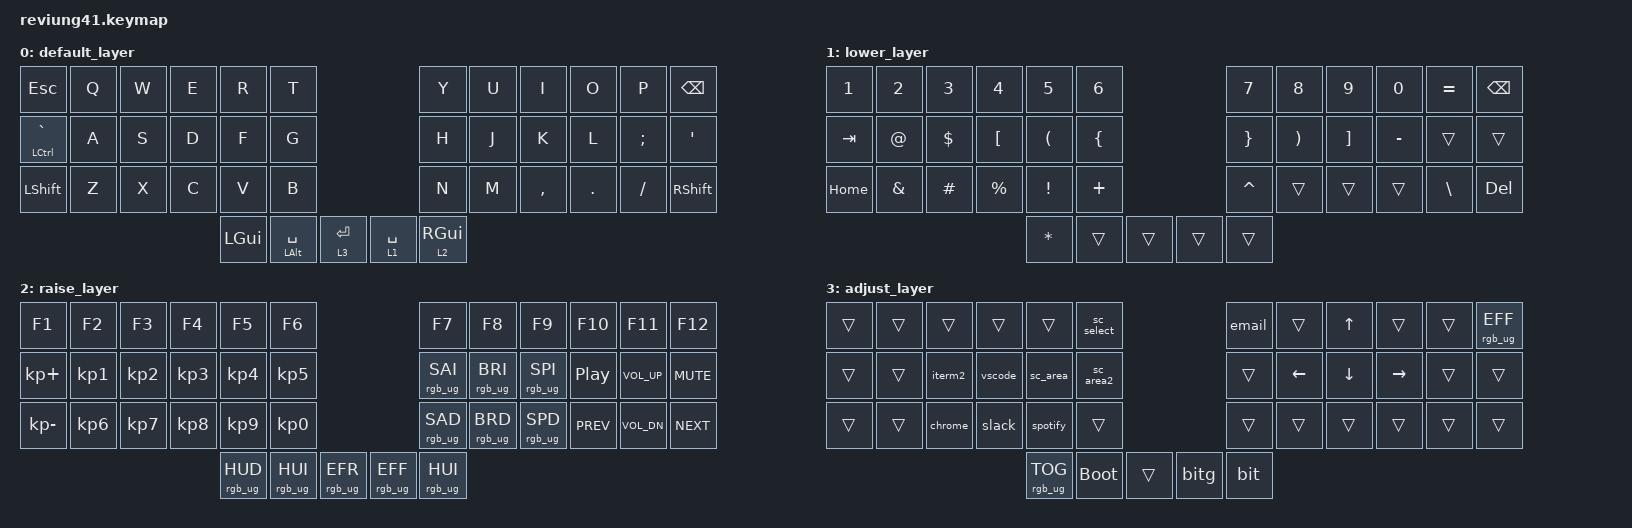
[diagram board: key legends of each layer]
/*
 * Reviung41 ChiefMikey Keymap - ZMK Configuration
 *
 * A comprehensive keymap for the Reviung41 split keyboard featuring:
 * - 4-layer layout (Base, Lower, Raise, Adjust)
 * - App launching shortcuts (iTerm2, VS Code, Chrome, Slack, Spotify)
 * - Screenshot shortcuts (selection and area capture)
 * - Email macro for quick insertion
 * - RGB lighting controls with animations
 * - Bluetooth support for wireless operation
 * - Optimized for macOS productivity workflows
 *
 * Hardware: Reviung41 with nice!nano v2 (RP2040)
 * Firmware: ZMK
 *
 * Copyright (c) 2020 The ZMK Contributors
 * SPDX-License-Identifier: MIT
 */

#include <behaviors.dtsi>
#include <dt-bindings/zmk/keys.h>
#include <dt-bindings/zmk/bt.h>
#include <dt-bindings/zmk/rgb.h>
#include <dt-bindings/zmk/outputs.h>
#include <dt-bindings/zmk/backlight.h>

&led_strip {
    chain-length = <11>;
};

/ {
    macros {
        // Email macro - sends wolfemikl@gmail.com
        email: email {
            label = "email";
            compatible = "zmk,behavior-macro";
            wait-ms = <5>;
            tap-ms = <5>;
            #binding-cells = <0>;
            bindings
                = <&macro_tap &kp W &kp O &kp L &kp F &kp E>
                , <&macro_tap &kp M &kp I &kp K &kp L>
                , <&macro_tap &kp AT>
                , <&macro_tap &kp G &kp M &kp A &kp I &kp L>
                , <&macro_tap &kp DOT>
                , <&macro_tap &kp C &kp O &kp M>
                ;
        };

        // Screenshot selection macro - macOS Cmd+Shift+4
        sc_select: sc_select {
            label = "sc_select";
            compatible = "zmk,behavior-macro";
            wait-ms = <5>;
            tap-ms = <5>;
            #binding-cells = <0>;
            bindings
                = <&macro_press &kp LGUI &kp LSHFT>
                , <&macro_tap &kp N4>
                , <&macro_release &kp LGUI &kp LSHFT>
                ;
        };

        // Screenshot area macro - macOS Cmd+Shift+5
        sc_area: sc_area {
            label = "sc_area";
            compatible = "zmk,behavior-macro";
            wait-ms = <5>;
            tap-ms = <5>;
            #binding-cells = <0>;
            bindings
                = <&macro_press &kp LGUI &kp LSHFT>
                , <&macro_tap &kp N5>
                , <&macro_release &kp LGUI &kp LSHFT>
                ;
        };

        // Screenshot area with enter macro - macOS Cmd+Shift+5+Enter
        sc_area2: sc_area2 {
            label = "sc_area2";
            compatible = "zmk,behavior-macro";
            wait-ms = <5>;
            tap-ms = <5>;
            #binding-cells = <0>;
            bindings
                = <&macro_press &kp LGUI &kp LSHFT>
                , <&macro_tap &kp N5>
                , <&macro_release &kp LGUI &kp LSHFT>
                , <&macro_tap &kp RET>
                ;
        };

        // App launching macros - require Cmd+Option+key shortcuts in macOS System Preferences
        // Launch iTerm2 - Cmd+Option+I
        iterm2: iterm2 {
            label = "iterm2";
            compatible = "zmk,behavior-macro";
            wait-ms = <5>;
            tap-ms = <5>;
            #binding-cells = <0>;
            bindings
                = <&macro_press &kp LGUI &kp LALT>
                , <&macro_tap &kp I>
                , <&macro_release &kp LGUI &kp LALT>
                ;
        };

        // Launch VS Code - Cmd+Option+V
        vscode: vscode {
            label = "vscode";
            compatible = "zmk,behavior-macro";
            wait-ms = <5>;
            tap-ms = <5>;
            #binding-cells = <0>;
            bindings
                = <&macro_press &kp LGUI &kp LALT>
                , <&macro_tap &kp V>
                , <&macro_release &kp LGUI &kp LALT>
                ;
        };

        // Launch Chrome - Cmd+Option+C
        chrome: chrome {
            label = "chrome";
            compatible = "zmk,behavior-macro";
            wait-ms = <5>;
            tap-ms = <5>;
            #binding-cells = <0>;
            bindings
                = <&macro_press &kp LGUI &kp LALT>
                , <&macro_tap &kp C>
                , <&macro_release &kp LGUI &kp LALT>
                ;
        };

        // Launch Slack - Cmd+Option+L
        slack: slack {
            label = "slack";
            compatible = "zmk,behavior-macro";
            wait-ms = <5>;
            tap-ms = <5>;
            #binding-cells = <0>;
            bindings
                = <&macro_press &kp LGUI &kp LALT>
                , <&macro_tap &kp L>
                , <&macro_release &kp LGUI &kp LALT>
                ;
        };

        // Launch Spotify - Cmd+Option+S
        spotify: spotify {
            label = "spotify";
            compatible = "zmk,behavior-macro";
            wait-ms = <5>;
            tap-ms = <5>;
            #binding-cells = <0>;
            bindings
                = <&macro_press &kp LGUI &kp LALT>
                , <&macro_tap &kp S>
                , <&macro_release &kp LGUI &kp LALT>
                ;
        };

        // Bit string macro - sends 644215-341561-007271-388454-339020-202070-542564-646173
        bit: bit {
            label = "bit";
            compatible = "zmk,behavior-macro";
            wait-ms = <5>;
            tap-ms = <5>;
            #binding-cells = <0>;
            bindings
                = <&macro_tap &kp N6 &kp N4 &kp N4 &kp N2 &kp N1 &kp N5>
                , <&macro_tap &kp MINUS>
                , <&macro_tap &kp N3 &kp N4 &kp N1 &kp N5 &kp N6 &kp N1>
                , <&macro_tap &kp MINUS>
                , <&macro_tap &kp N0 &kp N0 &kp N7 &kp N2 &kp N7 &kp N1>
                , <&macro_tap &kp MINUS>
                , <&macro_tap &kp N3 &kp N8 &kp N8 &kp N4 &kp N5 &kp N4>
                , <&macro_tap &kp MINUS>
                , <&macro_tap &kp N3 &kp N3 &kp N9 &kp N0 &kp N2 &kp N0>
                , <&macro_tap &kp MINUS>
                , <&macro_tap &kp N2 &kp N0 &kp N2 &kp N0 &kp N7 &kp N0>
                , <&macro_tap &kp MINUS>
                , <&macro_tap &kp N5 &kp N4 &kp N2 &kp N5 &kp N6 &kp N4>
                , <&macro_tap &kp MINUS>
                , <&macro_tap &kp N6 &kp N4 &kp N6 &kp N1 &kp N7 &kp N3>
                ;
        };

        // BitG string macro - sends 579359-282722-097900-233354-372933-318197-148071-714978
        bitg: bitg {
            label = "bitg";
            compatible = "zmk,behavior-macro";
            wait-ms = <5>;
            tap-ms = <5>;
            #binding-cells = <0>;
            bindings
                = <&macro_tap &kp N5 &kp N7 &kp N9 &kp N3 &kp N5 &kp N9>
                , <&macro_tap &kp MINUS>
                , <&macro_tap &kp N2 &kp N8 &kp N2 &kp N7 &kp N2 &kp N2>
                , <&macro_tap &kp MINUS>
                , <&macro_tap &kp N0 &kp N9 &kp N7 &kp N9 &kp N0 &kp N0>
                , <&macro_tap &kp MINUS>
                , <&macro_tap &kp N2 &kp N3 &kp N3 &kp N3 &kp N5 &kp N4>
                , <&macro_tap &kp MINUS>
                , <&macro_tap &kp N3 &kp N7 &kp N2 &kp N9 &kp N3 &kp N3>
                , <&macro_tap &kp MINUS>
                , <&macro_tap &kp N3 &kp N1 &kp N8 &kp N1 &kp N9 &kp N7>
                , <&macro_tap &kp MINUS>
                , <&macro_tap &kp N1 &kp N4 &kp N8 &kp N0 &kp N7 &kp N1>
                , <&macro_tap &kp MINUS>
                , <&macro_tap &kp N7 &kp N1 &kp N4 &kp N9 &kp N7 &kp N8>
                ;
        };
    };
};

/ {
    keymap {
        compatible = "zmk,keymap";

        default_layer {
            bindings = <
// |----------+----------+----------+----------+----------+----------|                        |----------+----------+----------+----------+----------+----------|
     &kp ESC         &kp Q    &kp W    &kp E    &kp R    &kp T                                &kp Y    &kp U    &kp I    &kp O    &kp P    &kp BSPC
// |----------+----------+----------+----------+----------+----------|                        |----------+----------+----------+----------+----------+----------|
     &mt LCTRL GRAVE &kp A    &kp S    &kp D    &kp F    &kp G                                &kp H    &kp J    &kp K    &kp L    &kp SEMI &kp SQT
// |----------+----------+----------+----------+----------+----------|                        |----------+----------+----------+----------+----------+----------|
     &kp LSHFT       &kp Z    &kp X    &kp C    &kp V    &kp B                                &kp N    &kp M    &kp COMMA &kp DOT &kp FSLH &kp RSHFT
// |----------+----------+----------+----------+----------+----------+----------|  |----------+----------+----------+----------+----------+----------+----------|
                                                &kp LGUI  &mt LALT SPACE &lt 3 RET  &lt 1 SPACE &lt 2 RGUI
//                                             |----------+----------+----------|  |----------+----------+----------|
            >;
        };

        lower_layer {
            bindings = <
// |----------+----------+----------+----------+----------+----------|                        |----------+----------+----------+----------+----------+----------|
     &kp N1    &kp N2    &kp N3    &kp N4    &kp N5    &kp N6                                &kp N7    &kp N8    &kp N9    &kp N0    &kp EQUAL &kp BSPC
// |----------+----------+----------+----------+----------+----------|                        |----------+----------+----------+----------+----------+----------|
     &kp TAB   &kp AT    &kp DLLR  &kp LBKT  &kp LPAR  &kp LBRC                              &kp RBRC  &kp RPAR  &kp RBKT  &kp MINUS &trans    &trans
// |----------+----------+----------+----------+----------+----------|                        |----------+----------+----------+----------+----------+----------|
     &kp HOME  &kp AMPS  &kp HASH  &kp PRCNT &kp EXCL  &kp PLUS                              &kp CARET &trans    &trans    &trans    &kp BSLH  &kp DEL
// |----------+----------+----------+----------+----------+----------+----------|  |----------+----------+----------+----------+----------+----------+----------|
                                                &kp ASTRK &trans    &trans        &trans     &trans
//                                             |----------+----------+----------|  |----------+----------+----------|
            >;
        };

        raise_layer {
            bindings = <
// |----------+----------+----------+----------+----------+----------|                        |----------+----------+----------+----------+----------+----------|
     &kp F1   &kp F2    &kp F3    &kp F4    &kp F5    &kp F6                                &kp F7    &kp F8   &kp F9   &kp F10    &kp F11     &kp F12
// |----------+----------+----------+----------+----------+----------|                        |----------+----------+----------+----------+----------+----------|
     &kp KP_PLUS &kp KP_N1    &kp KP_N2    &kp KP_N3    &kp KP_N4    &kp KP_N5                                &rgb_ug RGB_SAI &rgb_ug RGB_BRI &rgb_ug RGB_SPI &kp C_PLAY_PAUSE &kp C_VOL_UP &kp C_MUTE
// |----------+----------+----------+----------+----------+----------|                        |----------+----------+----------+----------+----------+----------|
     &kp KP_MINUS &kp KP_N6    &kp KP_N7    &kp KP_N8    &kp KP_N9    &kp KP_N0                                &rgb_ug RGB_SAD &rgb_ug RGB_BRD &rgb_ug RGB_SPD &kp C_PREV &kp C_VOL_DN &kp C_NEXT
// |----------+----------+----------+----------+----------+----------+----------|  |----------+----------+----------+----------+----------+----------+----------|
                                                &rgb_ug RGB_HUD &rgb_ug RGB_HUI &rgb_ug RGB_EFR        &rgb_ug RGB_EFF &rgb_ug RGB_HUI
//                                             |----------+----------+----------|  |----------+----------+----------|
            >;
        };

        adjust_layer {
            bindings = <
// |----------+----------+----------+----------+----------+----------|                        |----------+----------+----------+----------+----------+----------|
     &trans   &trans    &trans    &trans    &trans    &sc_select                              &email &trans    &kp UP   &trans    &trans    &rgb_ug RGB_EFF
// |----------+----------+----------+----------+----------+----------|                        |----------+----------+----------+----------+----------+----------|
     &trans   &trans    &iterm2   &vscode   &sc_area  &sc_area2                              &trans &kp LEFT  &kp DOWN &kp RIGHT &trans    &trans
// |----------+----------+----------+----------+----------+----------|                        |----------+----------+----------+----------+----------+----------|
     &trans   &trans    &chrome   &slack    &spotify  &trans                                 &trans &trans    &trans    &trans    &trans    &trans
// |----------+----------+----------+----------+----------+----------+----------|  |----------+----------+----------+----------+----------+----------+----------|
                                                &rgb_ug RGB_TOG &bootloader &trans              &bitg     &bit
//                                             |----------+----------+----------|  |----------+----------+----------|
            >;
        };
    };
};
